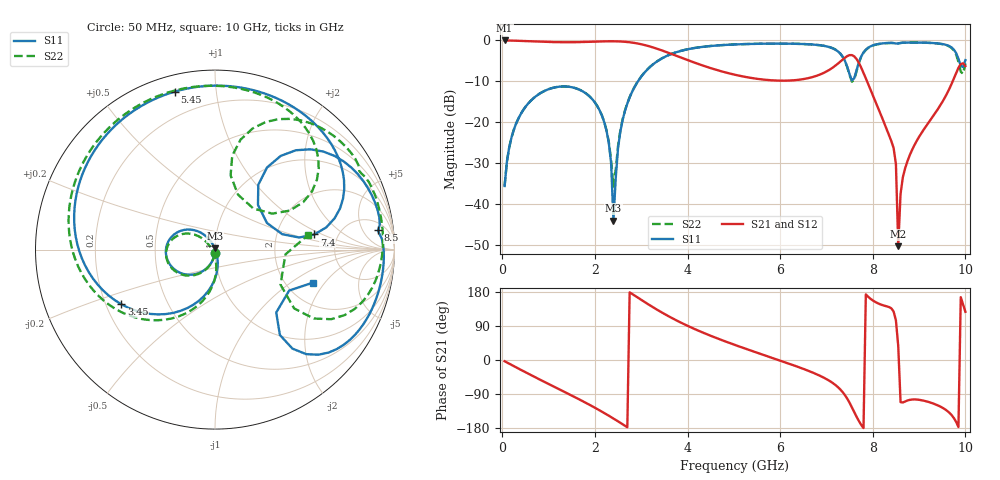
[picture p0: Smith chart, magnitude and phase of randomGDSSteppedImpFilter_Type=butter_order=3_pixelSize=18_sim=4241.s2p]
! freq	dB(S11)	phase(S11)	dB(S12)	phase(S12)
!  dB(S21)	phase(S21)	dB(S22)	phase(S22)
!S-par simulation data
#  GHz  S  DB  R 50
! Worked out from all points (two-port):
!   200 points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, 50 MHz to 10 GHz, reference 50 ohm
!   highest |S21| = -0.01 dB at 50 MHz (marker M1); lowest = -50.2 dB at 8.55 GHz (marker M2)
!   |S21| within 3 dB of the highest: start of sweep to 3.584 GHz
!   lowest |S11| = -44.0 dB at 2.4 GHz (marker M3), VSWR 1.01, Z = 50 + j0.633 ohm
!   |S11| at or under -10 dB: start of sweep to 2.929 GHz
!   |S22| runs from -35.7 to -0.5 dB; largest |S21 - S12| = 0
!   S11 on the Smith chart (normalised r, x): 50 MHz: 1.00, -0.03; 3.45 GHz: 0.26, -0.25; 5.45 GHz: 0.08, +0.77; 7.4 GHz: 3.33, +0.82; 8.5 GHz: 8, +11; 10 GHz: 2.77, -1.52
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0.05  -35.55 -92.5  -0.01 -3.3  -0.01 -3.3  -35.54 -92.4
0.55  -15.52 -126.7  -0.17 -35.4  -0.17 -35.4  -15.52 -125.1
1.75  -12.52 157.3  -0.39 -109.5  -0.39 -109.5  -12.52 163.7
2.25  -22.01 122.0  -0.22 -143.4  -0.22 -143.4  -21.92 138.2
2.35  -29.97 112.8  -0.21 -150.7  -0.21 -150.7  -29.22 146.5
2.4  -43.97 88.1  -0.21 -154.4  -0.21 -154.4  -35.71 -172.1
2.5  -26.20 -73.9  -0.23 -162.0  -0.23 -162.0  -25.69 -87.8
2.65  -17.16 -86.9  -0.33 -173.6  -0.33 -173.6  -17.07 -88.3
3.4  -4.70 -146.2  -2.25 128.6  -2.25 128.6  -4.68 -139.6
3.45  -4.37 -149.8  -2.45 125.0  -2.45 125.0  -4.35 -142.9
5.05  -0.97 121.9  -8.45 38.6  -8.45 38.6  -0.96 135.4
5.45  -0.83 104.3  -9.29 21.4  -9.29 21.4  -0.83 119.2
6.7  -1.00 49.7  -8.95 -33.0  -8.95 -33.0  -1.00 68.6
7.4  -5.03 8.7  -4.21 -92.9  -4.21 -92.9  -5.07 28.2
7.7  -5.32 57.6  -5.49 -161.0  -5.49 -161.0  -5.48 79.6
8.35  -0.61 13.8  -23.11 139.7  -23.11 139.7  -0.63 35.6
8.5  -0.77 6.7  -30.21 104.5  -30.21 104.5  -0.77 28.6
8.55  -0.74 5.8  -50.24 36.7  -50.24 36.7  -0.74 27.5
8.6  -0.62 3.9  -37.46 -111.1  -37.46 -111.1  -0.62 25.6
8.75  -0.52 -2.6  -29.45 -106.9  -29.45 -106.9  -0.52 19.0
9.75  -2.23 -48.9  -9.34 -152.9  -9.34 -152.9  -2.45 -30.9
10  -4.82 -18.8  -6.26 127.2  -6.26 127.2  -5.61 8.8
